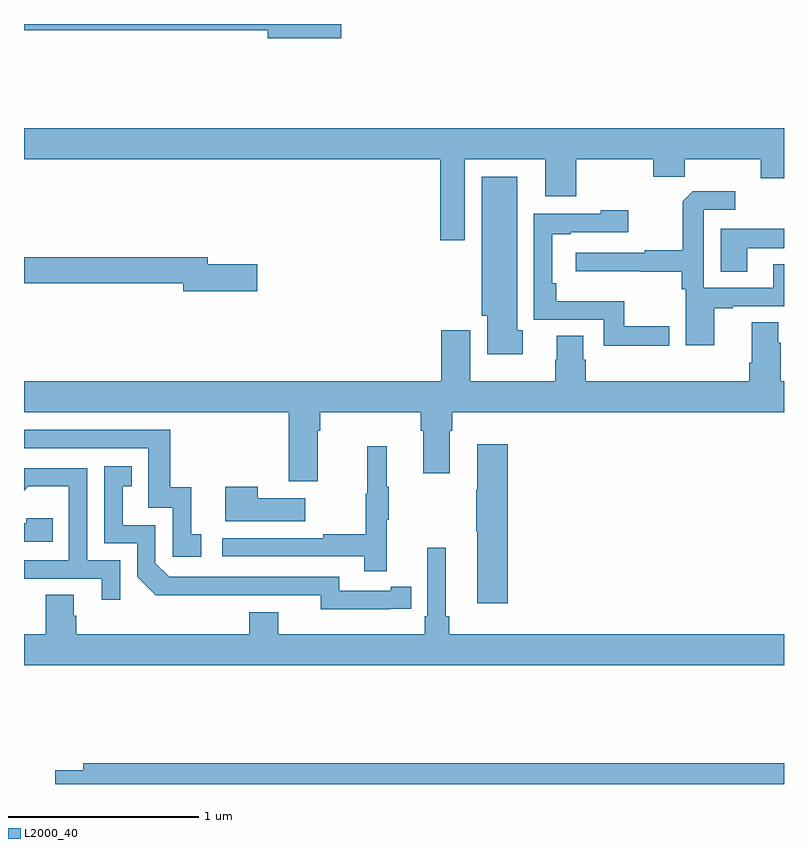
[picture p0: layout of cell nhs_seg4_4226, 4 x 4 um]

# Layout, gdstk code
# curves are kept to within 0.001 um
import gdstk
lib = gdstk.Library(unit=1e-6, precision=1e-09)
def P(c, l, *ps):  # polygons
    for p in ps: c.add(gdstk.Polygon(p, *l))
L2000_40 = (2000, 40)

nhs_seg4_4226 = lib.new_cell('nhs_seg4_4226')
P(nhs_seg4_4226, L2000_40, [(338.671,762.9),(337,762.9),(337,762.868),(338.282,762.868),(338.282,762.826),(338.671,762.826)],
  [(339.319,762.188),(339.743,762.188),(339.743,761.994),(339.907,761.994),(339.907,762.188),(340.313,762.188),(340.313,762.095),(340.477,762.095),(340.477,762.188),(340.877,762.188),(340.877,762.089),(341,762.089),(341,762.352),(337,762.352),(337,762.188),(339.191,762.188),(339.191,761.763),(339.319,761.763)],
  [(339.625,761.288),(339.595,761.288),(339.595,762.097),(339.41,762.097),(339.41,761.364),(339.437,761.364),(339.437,761.162),(339.625,761.162)],
  [(340.633,761.403),(340.729,761.403),(340.729,761.415),(341,761.415),(341,761.636),(340.943,761.636),(340.943,761.511),(340.578,761.511),(340.578,761.922),(340.744,761.922),(340.744,762.019),(340.519,762.019),(340.467,761.967),(340.467,761.71),(340.267,761.71),(340.267,761.697),(339.903,761.697),(339.903,761.6),(340.243,761.6),(340.243,761.596),(340.462,761.596),(340.462,761.504),(340.482,761.504),(340.482,761.208),(340.633,761.208)],
  [(340.396,761.309),(340.159,761.309),(340.159,761.44),(339.8,761.44),(339.8,761.536),(339.78,761.536),(339.78,761.793),(339.877,761.793),(339.877,761.805),(340.18,761.805),(340.18,761.92),(340.035,761.92),(340.035,761.901),(339.684,761.901),(339.684,761.343),(340.05,761.343),(340.05,761.207),(340.396,761.207)],
  [(340.807,761.721),(341,761.721),(341,761.822),(340.667,761.822),(340.667,761.596),(340.807,761.596)],
  [(338.227,761.636),(337.966,761.636),(337.966,761.672),(337,761.672),(337,761.536),(337.838,761.536),(337.838,761.494),(338.227,761.494)],
  [(338.545,760.76),(338.558,760.76),(338.558,760.856),(339.089,760.856),(339.089,760.76),(339.101,760.76),(339.101,760.536),(339.241,760.536),(339.241,760.76),(339.254,760.76),(339.254,760.856),(341,760.856),(341,761.02),(340.982,761.02),(340.982,761.222),(340.969,761.222),(340.969,761.33),(340.829,761.33),(340.829,761.116),(340.817,761.116),(340.817,761.02),(339.956,761.02),(339.956,761.133),(339.943,761.133),(339.943,761.258),(339.803,761.258),(339.803,761.133),(339.796,761.133),(339.796,761.02),(339.349,761.02),(339.349,761.287),(339.197,761.287),(339.197,761.02),(337,761.02),(337,760.856),(338.393,760.856),(338.393,760.494),(338.545,760.494)],
  [(337.933,760.215),(337.88,760.215),(337.88,760.462),(337.769,760.462),(337.769,760.764),(337,760.764),(337,760.668),(337.653,760.668),(337.653,760.353),(337.782,760.353),(337.782,760.095),(337.933,760.095)],
  [(339.545,760.687),(339.386,760.687),(339.386,760.448),(339.379,760.448),(339.379,760.231),(339.386,760.231),(339.386,759.852),(339.545,759.852)],
  [(338.909,760.291),(338.92,760.291),(338.92,760.465),(338.909,760.465),(338.909,760.678),(338.806,760.678),(338.806,760.428),(338.799,760.428),(338.799,760.214),(338.575,760.214),(338.575,760.194),(338.043,760.194),(338.043,760.098),(338.791,760.098),(338.791,760.02),(338.909,760.02)],
  [(338.93,759.822),(339.038,759.822),(339.038,759.938),(338.93,759.938),(338.93,759.918),(338.658,759.918),(338.658,759.99),(337.764,759.99),(337.692,760.062),(337.692,760.263),(337.519,760.263),(337.519,760.467),(337.568,760.467),(337.568,760.573),(337.422,760.573),(337.422,760.167),(337.596,760.167),(337.596,759.99),(337.694,759.893),(338.562,759.894),(338.562,759.821)],
  [(337.506,760.077),(337.332,760.077),(337.332,760.563),(337,760.563),(337,760.444),(337.022,760.466),(337.236,760.466),(337.236,760.077),(337,760.077),(337,759.981),(337.409,759.981),(337.409,759.87),(337.506,759.87)],
  [(338.479,760.405),(338.231,760.405),(338.231,760.465),(338.06,760.465),(338.06,760.283),(338.479,760.283)],
  [(337.151,760.299),(337.011,760.299),(337.011,760.272),(337,760.272),(337,760.176),(337.151,760.176)],
  [(341,759.688),(339.239,759.688),(339.239,759.784),(339.22,759.784),(339.22,760.144),(339.123,760.144),(339.123,759.784),(339.11,759.784),(339.11,759.688),(338.338,759.688),(338.338,759.805),(338.186,759.805),(338.186,759.688),(337.274,759.688),(337.274,759.786),(337.261,759.786),(337.261,759.896),(337.114,759.896),(337.114,759.688),(337,759.688),(337,759.524),(341,759.524)],
  [(341,759.008),(337.313,759.008),(337.313,758.972),(337.164,758.972),(337.164,758.9),(341,758.9)])

lib.write_gds('nhs_seg4_4226.gds')
